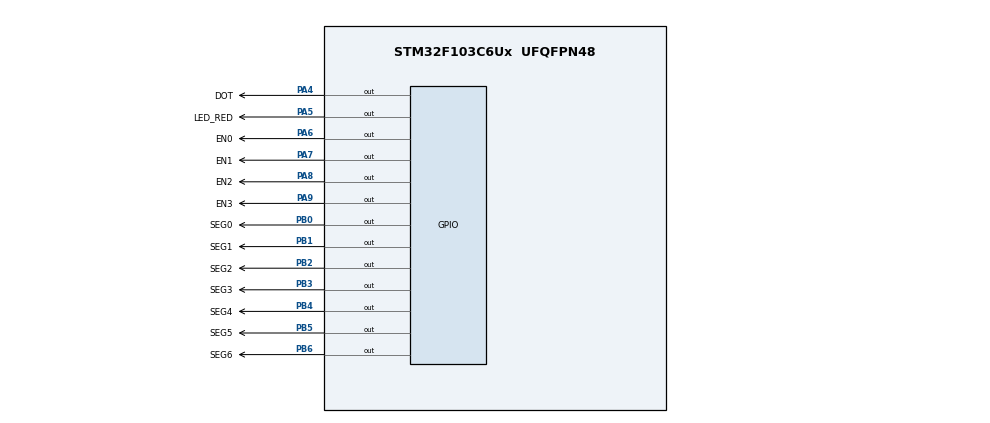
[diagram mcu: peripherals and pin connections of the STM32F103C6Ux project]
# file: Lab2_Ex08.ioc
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Mcu.Family=STM32F1
Mcu.Name=STM32F103C6Ux
Mcu.Package=UFQFPN48
NVIC.PriorityGroup=NVIC_PRIORITYGROUP_4
NVIC.TIM2_IRQn=true\:0\:0\:false\:false\:true\:true\:true
PA4.GPIO_Label=DOT
PA4.Signal=GPIO_Output
PA5.GPIO_Label=LED_RED
PA5.Signal=GPIO_Output
PA6.GPIO_Label=EN0
PA6.Signal=GPIO_Output
PA7.GPIO_Label=EN1
PA7.Signal=GPIO_Output
PA8.GPIO_Label=EN2
PA8.Signal=GPIO_Output
PA9.GPIO_Label=EN3
PA9.Signal=GPIO_Output
PB0.GPIO_Label=SEG0
PB0.Signal=GPIO_Output
PB1.GPIO_Label=SEG1
PB1.Signal=GPIO_Output
PB2.GPIO_Label=SEG2
PB2.Signal=GPIO_Output
PB3.GPIO_Label=SEG3
PB3.Signal=GPIO_Output
PB4.GPIO_Label=SEG4
PB4.Signal=GPIO_Output
PB5.GPIO_Label=SEG5
PB5.Signal=GPIO_Output
PB6.GPIO_Label=SEG6
PB6.Signal=GPIO_Output
ProjectManager.HeapSize=0x200
ProjectManager.StackSize=0x400
ProjectManager.TargetToolchain=STM32CubeIDE
RCC.APB1Freq_Value=8000000
RCC.APB2Freq_Value=8000000
TIM2.Period=9
TIM2.Prescaler=7999
VP_SYS_VS_ND.Mode=No_Debug
VP_TIM2_VS_ClockSourceINT.Mode=Internal
board=custom

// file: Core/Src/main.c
/* USER CODE BEGIN Header */
/**
  ******************************************************************************
  * @file           : main.c
  * @brief          : Main program body
  ******************************************************************************
  * @attention
  *
  * <h2><center>&copy; Copyright (c) 2022 STMicroelectronics.
  * All rights reserved.</center></h2>
  *
  * This software component is licensed by ST under BSD 3-Clause license,
  * the "License"; You may not use this file except in compliance with the
  * License. You may obtain a copy of the License at:
  *                        opensource.org/licenses/BSD-3-Clause
  *
  ******************************************************************************
  */
/* USER CODE END Header */
#include "main.h"

TIM_HandleTypeDef htim2;

void SystemClock_Config(void);
static void MX_GPIO_Init(void);
static void MX_TIM2_Init(void);

/* USER CODE BEGIN 0 */
void display7SEG(int num){
	if( num == 0){
		HAL_GPIO_WritePin(SEG0_GPIO_Port, SEG0_Pin, GPIO_PIN_RESET);
		HAL_GPIO_WritePin(SEG1_GPIO_Port, SEG1_Pin, GPIO_PIN_RESET);
		HAL_GPIO_WritePin(SEG2_GPIO_Port, SEG2_Pin, GPIO_PIN_RESET);
		HAL_GPIO_WritePin(SEG3_GPIO_Port, SEG3_Pin, GPIO_PIN_RESET);
		HAL_GPIO_WritePin(SEG4_GPIO_Port, SEG4_Pin, GPIO_PIN_RESET);
		HAL_GPIO_WritePin(SEG5_GPIO_Port, SEG5_Pin, GPIO_PIN_RESET);
		HAL_GPIO_WritePin(SEG6_GPIO_Port, SEG6_Pin, GPIO_PIN_SET);
	}

	if(num == 1){
		HAL_GPIO_WritePin(SEG0_GPIO_Port, SEG0_Pin, GPIO_PIN_SET);
		HAL_GPIO_WritePin(SEG1_GPIO_Port, SEG1_Pin, GPIO_PIN_RESET);
		HAL_GPIO_WritePin(SEG2_GPIO_Port, SEG2_Pin, GPIO_PIN_RESET);
		HAL_GPIO_WritePin(SEG3_GPIO_Port, SEG3_Pin, GPIO_PIN_SET );
		HAL_GPIO_WritePin(SEG4_GPIO_Port, SEG4_Pin, GPIO_PIN_SET);
		HAL_GPIO_WritePin(SEG5_GPIO_Port, SEG5_Pin, GPIO_PIN_SET);
		HAL_GPIO_WritePin(SEG6_GPIO_Port, SEG6_Pin, GPIO_PIN_SET);
	}

	if(num == 2){
		HAL_GPIO_WritePin(SEG0_GPIO_Port, SEG0_Pin, GPIO_PIN_RESET);
		HAL_GPIO_WritePin(SEG1_GPIO_Port, SEG1_Pin, GPIO_PIN_RESET);
		HAL_GPIO_WritePin(SEG2_GPIO_Port, SEG2_Pin, GPIO_PIN_SET);
		HAL_GPIO_WritePin(SEG3_GPIO_Port, SEG3_Pin, GPIO_PIN_RESET);
		HAL_GPIO_WritePin(SEG4_GPIO_Port, SEG4_Pin, GPIO_PIN_RESET);
		HAL_GPIO_WritePin(SEG5_GPIO_Port, SEG5_Pin, GPIO_PIN_SET);
		HAL_GPIO_WritePin(SEG6_GPIO_Port, SEG6_Pin, GPIO_PIN_RESET);
	}

	if(num == 3){
		HAL_GPIO_WritePin(SEG0_GPIO_Port, SEG0_Pin, GPIO_PIN_RESET);
		HAL_GPIO_WritePin(SEG1_GPIO_Port, SEG1_Pin, GPIO_PIN_RESET);
		HAL_GPIO_WritePin(SEG2_GPIO_Port, SEG2_Pin, GPIO_PIN_RESET);
		HAL_GPIO_WritePin(SEG3_GPIO_Port, SEG3_Pin, GPIO_PIN_RESET);
		HAL_GPIO_WritePin(SEG4_GPIO_Port, SEG4_Pin, GPIO_PIN_SET);
		HAL_GPIO_WritePin(SEG5_GPIO_Port, SEG5_Pin, GPIO_PIN_SET);
		HAL_GPIO_WritePin(SEG6_GPIO_Port, SEG6_Pin, GPIO_PIN_RESET);
	}

	if(num == 4){
		HAL_GPIO_WritePin(SEG0_GPIO_Port, SEG0_Pin, GPIO_PIN_SET);
		HAL_GPIO_WritePin(SEG1_GPIO_Port, SEG1_Pin, GPIO_PIN_RESET);
		HAL_GPIO_WritePin(SEG2_GPIO_Port, SEG2_Pin, GPIO_PIN_RESET);
		HAL_GPIO_WritePin(SEG3_GPIO_Port, SEG3_Pin, GPIO_PIN_SET);
		HAL_GPIO_WritePin(SEG4_GPIO_Port, SEG4_Pin, GPIO_PIN_SET);
		HAL_GPIO_WritePin(SEG5_GPIO_Port, SEG5_Pin, GPIO_PIN_RESET);
		HAL_GPIO_WritePin(SEG6_GPIO_Port, SEG6_Pin, GPIO_PIN_RESET);
	}

	if(num == 5){
		HAL_GPIO_WritePin(SEG0_GPIO_Port, SEG0_Pin, GPIO_PIN_RESET);
		HAL_GPIO_WritePin(SEG1_GPIO_Port, SEG1_Pin, GPIO_PIN_SET);
		HAL_GPIO_WritePin(SEG2_GPIO_Port, SEG2_Pin, GPIO_PIN_RESET);
		HAL_GPIO_WritePin(SEG3_GPIO_Port, SEG3_Pin, GPIO_PIN_RESET);
		HAL_GPIO_WritePin(SEG4_GPIO_Port, SEG4_Pin, GPIO_PIN_SET);
		HAL_GPIO_WritePin(SEG5_GPIO_Port, SEG5_Pin, GPIO_PIN_RESET);
		HAL_GPIO_WritePin(SEG6_GPIO_Port, SEG6_Pin, GPIO_PIN_RESET);
	}

	if(num == 6){
		HAL_GPIO_WritePin(SEG0_GPIO_Port, SEG0_Pin, GPIO_PIN_RESET);
		HAL_GPIO_WritePin(SEG1_GPIO_Port, SEG1_Pin, GPIO_PIN_SET);
		HAL_GPIO_WritePin(SEG2_GPIO_Port, SEG2_Pin, GPIO_PIN_RESET);
		HAL_GPIO_WritePin(SEG3_GPIO_Port, SEG3_Pin, GPIO_PIN_RESET);
		HAL_GPIO_WritePin(SEG4_GPIO_Port, SEG4_Pin, GPIO_PIN_RESET);
		HAL_GPIO_WritePin(SEG5_GPIO_Port, SEG5_Pin, GPIO_PIN_RESET);
		HAL_GPIO_WritePin(SEG6_GPIO_Port, SEG6_Pin, GPIO_PIN_RESET);
	}

	if(num == 7){
		HAL_GPIO_WritePin(SEG0_GPIO_Port, SEG0_Pin, GPIO_PIN_RESET);
		HAL_GPIO_WritePin(SEG1_GPIO_Port, SEG1_Pin, GPIO_PIN_RESET);
		HAL_GPIO_WritePin(SEG2_GPIO_Port, SEG2_Pin, GPIO_PIN_RESET);
		HAL_GPIO_WritePin(SEG3_GPIO_Port, SEG3_Pin, GPIO_PIN_SET);
		HAL_GPIO_WritePin(SEG4_GPIO_Port, SEG4_Pin, GPIO_PIN_SET);
		HAL_GPIO_WritePin(SEG5_GPIO_Port, SEG5_Pin, GPIO_PIN_SET);
		HAL_GPIO_WritePin(SEG6_GPIO_Port, SEG6_Pin, GPIO_PIN_SET);
	}

	if(num == 8){
		HAL_GPIO_WritePin(SEG0_GPIO_Port, SEG0_Pin, GPIO_PIN_RESET);
		HAL_GPIO_WritePin(SEG1_GPIO_Port, SEG1_Pin, GPIO_PIN_RESET);
		HAL_GPIO_WritePin(SEG2_GPIO_Port, SEG2_Pin, GPIO_PIN_RESET);
		HAL_GPIO_WritePin(SEG3_GPIO_Port, SEG3_Pin, GPIO_PIN_RESET);
		HAL_GPIO_WritePin(SEG4_GPIO_Port, SEG4_Pin, GPIO_PIN_RESET);
		HAL_GPIO_WritePin(SEG5_GPIO_Port, SEG5_Pin, GPIO_PIN_RESET);
		HAL_GPIO_WritePin(SEG6_GPIO_Port, SEG6_Pin, GPIO_PIN_RESET);
	}

	if(num == 9){
		HAL_GPIO_WritePin(SEG0_GPIO_Port, SEG0_Pin, GPIO_PIN_RESET);
		HAL_GPIO_WritePin(SEG1_GPIO_Port, SEG1_Pin, GPIO_PIN_RESET);
		HAL_GPIO_WritePin(SEG2_GPIO_Port, SEG2_Pin, GPIO_PIN_RESET);
		HAL_GPIO_WritePin(SEG3_GPIO_Port, SEG3_Pin, GPIO_PIN_RESET);
		HAL_GPIO_WritePin(SEG4_GPIO_Port, SEG4_Pin, GPIO_PIN_SET);
		HAL_GPIO_WritePin(SEG5_GPIO_Port, SEG5_Pin, GPIO_PIN_RESET);
		HAL_GPIO_WritePin(SEG6_GPIO_Port, SEG6_Pin, GPIO_PIN_RESET);
	}
}

int led_buffer [4] = {};
void update7SEG(int index){
	switch(index){
	case 0:
		HAL_GPIO_WritePin(EN0_GPIO_Port, EN0_Pin, GPIO_PIN_RESET);
		HAL_GPIO_WritePin(EN1_GPIO_Port, EN1_Pin, GPIO_PIN_SET);
		HAL_GPIO_WritePin(EN2_GPIO_Port, EN2_Pin, GPIO_PIN_SET);
		HAL_GPIO_WritePin(EN3_GPIO_Port, EN3_Pin, GPIO_PIN_SET);
		display7SEG(led_buffer[0]);
		break;
	case 1:
		HAL_GPIO_WritePin(EN0_GPIO_Port, EN0_Pin, GPIO_PIN_SET);
		HAL_GPIO_WritePin(EN1_GPIO_Port, EN1_Pin, GPIO_PIN_RESET);
		HAL_GPIO_WritePin(EN2_GPIO_Port, EN2_Pin, GPIO_PIN_SET);
		HAL_GPIO_WritePin(EN3_GPIO_Port, EN3_Pin, GPIO_PIN_SET);
		display7SEG(led_buffer[1]);
		break;
	case 2:
		HAL_GPIO_WritePin(EN0_GPIO_Port, EN0_Pin, GPIO_PIN_SET);
		HAL_GPIO_WritePin(EN1_GPIO_Port, EN1_Pin, GPIO_PIN_SET);
		HAL_GPIO_WritePin(EN2_GPIO_Port, EN2_Pin, GPIO_PIN_RESET);
		HAL_GPIO_WritePin(EN3_GPIO_Port, EN3_Pin, GPIO_PIN_SET);
		display7SEG(led_buffer[2]);
		break;
	case 3:
		HAL_GPIO_WritePin(EN0_GPIO_Port, EN0_Pin, GPIO_PIN_SET);
		HAL_GPIO_WritePin(EN1_GPIO_Port, EN1_Pin, GPIO_PIN_SET);
		HAL_GPIO_WritePin(EN2_GPIO_Port, EN2_Pin, GPIO_PIN_SET);
		HAL_GPIO_WritePin(EN3_GPIO_Port, EN3_Pin, GPIO_PIN_RESET);
		display7SEG(led_buffer[3]);
		break;
	default:
		break;
	}
}

int hour = 23, minute = 59, second = 55;
void updateClockBuffer(){
	led_buffer [0] = hour/10;
	led_buffer [1] = hour%10;
	led_buffer [2] = minute/10;
	led_buffer [3] = minute%10;
}

int timer0_counter = 0;
int timer1_counter = 0;
int timer0_flag = 0;
int timer1_flag = 0;
int TIMER_CYCLE = 10;

void setTimer0(int duration){
	timer0_counter = duration/TIMER_CYCLE;
	timer0_flag = 0;
}

void setTimer1(int duration){
	timer1_counter = duration/TIMER_CYCLE;
	timer1_flag = 0;
}

void timer_run(){
	// timer0
	if(timer0_counter > 0)
		timer0_counter--;
	if(timer0_counter == 0)
		timer0_flag = 1;

	// timer1
	if(timer1_counter > 0)
		timer1_counter--;
	if(timer1_counter == 0)
		timer1_flag = 1;
}

const int MAX_LED = 4;
int index_led = 0;
/* USER CODE END 0 */

int main(void)
{

  /* MCU Configuration--------------------------------------------------------*/

  /* Reset of all peripherals, Initializes the Flash interface and the Systick. */
  HAL_Init();

  /* Configure the system clock */
  SystemClock_Config();

  /* Initialize all configured peripherals */
  MX_GPIO_Init();
  MX_TIM2_Init();
  /* USER CODE BEGIN 2 */
  HAL_TIM_Base_Start_IT(& htim2);
  setTimer0(1000);
  setTimer1(1000);
  /* USER CODE END 2 */

  /* Infinite loop */
  while (1)
  {

    /* USER CODE BEGIN 3 */
	  if(timer0_flag == 1){
		  // dot blink every second
		  HAL_GPIO_TogglePin(DOT_GPIO_Port, DOT_Pin);
		  // update value hour minute second every second
		  second++;
		  if(second >= 60){
		  		second = 0;
		  		minute++;
		  }
		  if(minute >= 60){
		  		minute = 0;
		  		hour++;
		  }
		  if(hour >= 24){
		  		hour = 0;
		  }
		  updateClockBuffer();
		  setTimer0(1000);
	  }

	  if(timer1_flag == 1){
		  HAL_GPIO_TogglePin(LED_RED_GPIO_Port, LED_RED_Pin);
		  switch(index_led){
		  case 0:
			  update7SEG(0);
			  index_led = 1;
			  break;
		  case 1:
			  update7SEG(1);
			  index_led = 2;
			  break;
		  case 2:
			  update7SEG(2);
			  index_led = 3;
			  break;
		  case 3:
			  update7SEG(3);
			  index_led = 0;
			  break;
		  default:
			  break;
		  }
		  setTimer1(250);
	  }
  }
  /* USER CODE END 3 */
}

void SystemClock_Config(void)
{
  RCC_OscInitTypeDef RCC_OscInitStruct = {0};
  RCC_ClkInitTypeDef RCC_ClkInitStruct = {0};

  /** Initializes the RCC Oscillators according to the specified parameters
  * in the RCC_OscInitTypeDef structure.
  */
  RCC_OscInitStruct.OscillatorType = RCC_OSCILLATORTYPE_HSI;
  RCC_OscInitStruct.HSIState = RCC_HSI_ON;
  RCC_OscInitStruct.HSICalibrationValue = RCC_HSICALIBRATION_DEFAULT;
  RCC_OscInitStruct.PLL.PLLState = RCC_PLL_NONE;
  if (HAL_RCC_OscConfig(&RCC_OscInitStruct) != HAL_OK)
  {
    Error_Handler();
  }
  /** Initializes the CPU, AHB and APB buses clocks
  */
  RCC_ClkInitStruct.ClockType = RCC_CLOCKTYPE_HCLK|RCC_CLOCKTYPE_SYSCLK
                              |RCC_CLOCKTYPE_PCLK1|RCC_CLOCKTYPE_PCLK2;
  RCC_ClkInitStruct.SYSCLKSource = RCC_SYSCLKSOURCE_HSI;
  RCC_ClkInitStruct.AHBCLKDivider = RCC_SYSCLK_DIV1;
  RCC_ClkInitStruct.APB1CLKDivider = RCC_HCLK_DIV1;
  RCC_ClkInitStruct.APB2CLKDivider = RCC_HCLK_DIV1;

  if (HAL_RCC_ClockConfig(&RCC_ClkInitStruct, FLASH_LATENCY_0) != HAL_OK)
  {
    Error_Handler();
  }
}

static void MX_TIM2_Init(void)
{

  TIM_ClockConfigTypeDef sClockSourceConfig = {0};
  TIM_MasterConfigTypeDef sMasterConfig = {0};

  htim2.Instance = TIM2;
  htim2.Init.Prescaler = 7999;
  htim2.Init.CounterMode = TIM_COUNTERMODE_UP;
  htim2.Init.Period = 9;
  htim2.Init.ClockDivision = TIM_CLOCKDIVISION_DIV1;
  htim2.Init.AutoReloadPreload = TIM_AUTORELOAD_PRELOAD_DISABLE;
  if (HAL_TIM_Base_Init(&htim2) != HAL_OK)
  {
    Error_Handler();
  }
  sClockSourceConfig.ClockSource = TIM_CLOCKSOURCE_INTERNAL;
  if (HAL_TIM_ConfigClockSource(&htim2, &sClockSourceConfig) != HAL_OK)
  {
    Error_Handler();
  }
  sMasterConfig.MasterOutputTrigger = TIM_TRGO_RESET;
  sMasterConfig.MasterSlaveMode = TIM_MASTERSLAVEMODE_DISABLE;
  if (HAL_TIMEx_MasterConfigSynchronization(&htim2, &sMasterConfig) != HAL_OK)
  {
    Error_Handler();
  }

}

static void MX_GPIO_Init(void)
{
  GPIO_InitTypeDef GPIO_InitStruct = {0};

  /* GPIO Ports Clock Enable */
  __HAL_RCC_GPIOA_CLK_ENABLE();
  __HAL_RCC_GPIOB_CLK_ENABLE();

  /*Configure GPIO pin Output Level */
  HAL_GPIO_WritePin(GPIOA, DOT_Pin|LED_RED_Pin|EN0_Pin|EN1_Pin
                          |EN2_Pin|EN3_Pin, GPIO_PIN_RESET);

  /*Configure GPIO pin Output Level */
  HAL_GPIO_WritePin(GPIOB, SEG0_Pin|SEG1_Pin|SEG2_Pin|SEG3_Pin
                          |SEG4_Pin|SEG5_Pin|SEG6_Pin, GPIO_PIN_RESET);

  /*Configure GPIO pins : DOT_Pin LED_RED_Pin EN0_Pin EN1_Pin
                           EN2_Pin EN3_Pin */
  GPIO_InitStruct.Pin = DOT_Pin|LED_RED_Pin|EN0_Pin|EN1_Pin
                          |EN2_Pin|EN3_Pin;
  GPIO_InitStruct.Mode = GPIO_MODE_OUTPUT_PP;
  GPIO_InitStruct.Pull = GPIO_NOPULL;
  GPIO_InitStruct.Speed = GPIO_SPEED_FREQ_LOW;
  HAL_GPIO_Init(GPIOA, &GPIO_InitStruct);

  /*Configure GPIO pins : SEG0_Pin SEG1_Pin SEG2_Pin SEG3_Pin
                           SEG4_Pin SEG5_Pin SEG6_Pin */
  GPIO_InitStruct.Pin = SEG0_Pin|SEG1_Pin|SEG2_Pin|SEG3_Pin
                          |SEG4_Pin|SEG5_Pin|SEG6_Pin;
  GPIO_InitStruct.Mode = GPIO_MODE_OUTPUT_PP;
  GPIO_InitStruct.Pull = GPIO_NOPULL;
  GPIO_InitStruct.Speed = GPIO_SPEED_FREQ_LOW;
  HAL_GPIO_Init(GPIOB, &GPIO_InitStruct);

}

/* USER CODE BEGIN 4 */

void HAL_TIM_PeriodElapsedCallback ( TIM_HandleTypeDef * htim )
{
	timer_run();
}
/* USER CODE END 4 */

void Error_Handler(void)
{
  __disable_irq();
  while (1)
  {
  }
}

/************************ (C) COPYRIGHT STMicroelectronics *****END OF FILE****/
